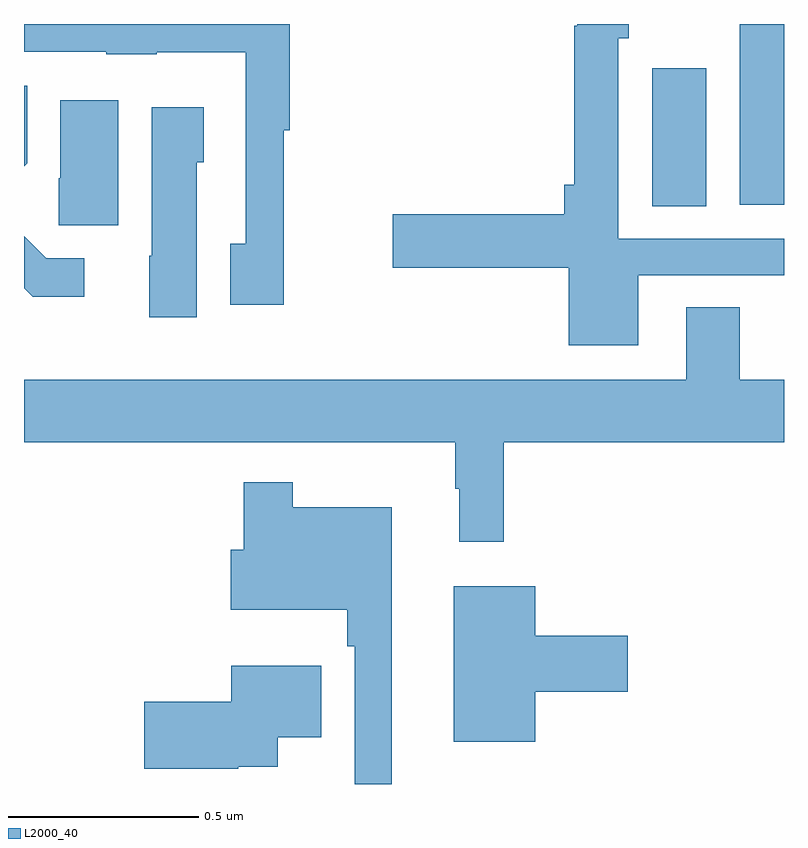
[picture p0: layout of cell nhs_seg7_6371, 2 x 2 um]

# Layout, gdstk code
import gdstk
lib = gdstk.Library(unit=1e-6, precision=1e-09)
def R(c, l, rs):  # rectangles x0, y0, x1, y1
    for r in rs: c.add(gdstk.rectangle(r[:2], r[2:], *l))
def P(c, l, *ps):  # polygons
    for p in ps: c.add(gdstk.Polygon(p, *l))
L2000_40 = (2000, 40)

nhs_seg7_6371 = lib.new_cell('nhs_seg7_6371')
R(nhs_seg7_6371, L2000_40, [(198.653,1050.52,198.796,1050.883), (198.884,1050.524,199,1051)])
P(nhs_seg7_6371, L2000_40, [(198.616,1050.339),(199,1050.339),(199,1050.435),(198.564,1050.435),(198.564,1050.963),(198.591,1050.963),(198.591,1051),(198.456,1051),(198.456,1050.995),(198.448,1050.995),(198.448,1050.577),(198.422,1050.577),(198.422,1050.5),(197.97,1050.5),(197.97,1050.358),(198.434,1050.358),(198.434,1050.155),(198.616,1050.155)],
  [(197.684,1050.72),(197.699,1050.72),(197.699,1051),(197,1051),(197,1050.927),(197.217,1050.927),(197.217,1050.92),(197.349,1050.92),(197.349,1050.926),(197.583,1050.926),(197.583,1050.422),(197.543,1050.422),(197.543,1050.261),(197.684,1050.261)],
  [(197.008,1050.634),(197.008,1050.838),(197,1050.838),(197,1050.626)],
  [(197.248,1050.799),(197.096,1050.799),(197.096,1050.594),(197.092,1050.594),(197.092,1050.471),(197.248,1050.471)],
  [(197.455,1050.636),(197.473,1050.636),(197.473,1050.781),(197.336,1050.781),(197.336,1050.39),(197.33,1050.39),(197.33,1050.228),(197.455,1050.228)],
  [(197.158,1050.384),(197.058,1050.384),(197,1050.442),(197,1050.305),(197.023,1050.282),(197.158,1050.282)],
  [(198.263,1049.9),(199,1049.9),(199,1050.064),(198.883,1050.064),(198.883,1050.254),(198.743,1050.254),(198.743,1050.064),(197,1050.064),(197,1049.9),(198.135,1049.9),(198.135,1049.777),(198.146,1049.777),(198.146,1049.637),(198.263,1049.637)],
  [(197.968,1049.728),(197.707,1049.728),(197.707,1049.794),(197.578,1049.794),(197.578,1049.617),(197.544,1049.617),(197.544,1049.459),(197.851,1049.459),(197.851,1049.363),(197.871,1049.363),(197.871,1049),(197.968,1049)],
  [(198.346,1049.243),(198.589,1049.243),(198.589,1049.39),(198.346,1049.39),(198.346,1049.521),(198.131,1049.521),(198.131,1049.111),(198.346,1049.111)],
  [(197.564,1049.045),(197.668,1049.045),(197.668,1049.123),(197.782,1049.123),(197.782,1049.311),(197.546,1049.311),(197.546,1049.216),(197.316,1049.216),(197.316,1049.04),(197.564,1049.04)])

lib.write_gds('nhs_seg7_6371.gds')
